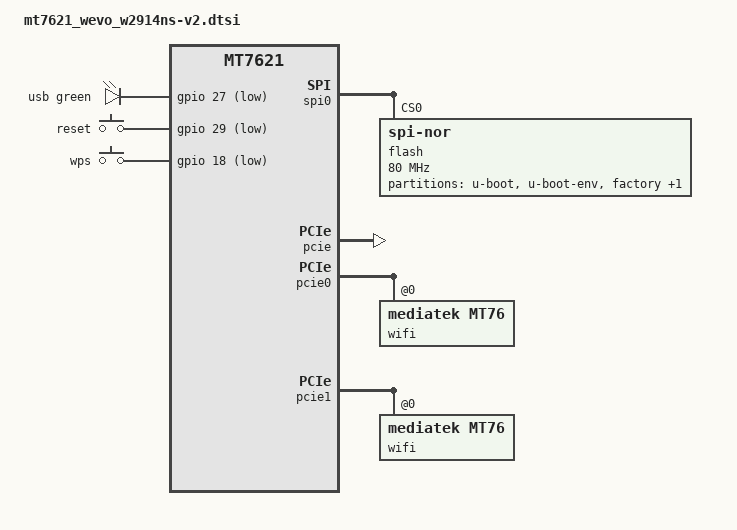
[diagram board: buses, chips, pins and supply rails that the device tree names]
#include "mt7621.dtsi"

#include <dt-bindings/gpio/gpio.h>
#include <dt-bindings/input/input.h>
#include <dt-bindings/leds/common.h>

/ {
	aliases {
		label-mac-device = &wan;
	};

	leds {
		compatible = "gpio-leds";

		usb {
			function = LED_FUNCTION_USB;
			color = <LED_COLOR_ID_GREEN>;
			gpios = <&gpio 27 GPIO_ACTIVE_LOW>;
			trigger-sources = <&xhci_ehci_port1>, <&ehci_port2>;
			linux,default-trigger = "usbport";
		};
	};

	keys {
		compatible = "gpio-keys";

		reset {
			label = "reset";
			gpios = <&gpio 29 GPIO_ACTIVE_LOW>;
			linux,code = <KEY_RESTART>;
		};

		wps {
			label = "wps";
			gpios = <&gpio 18 GPIO_ACTIVE_LOW>;
			linux,code = <KEY_WPS_BUTTON>;
		};
	};
};

&spi0 {
	status = "okay";

	flash@0 {
		compatible = "jedec,spi-nor";
		reg = <0>;
		spi-max-frequency = <80000000>;
		m25p,fast-read;

		partitions {
			compatible = "fixed-partitions";
			#address-cells = <1>;
			#size-cells = <1>;

			partition@0 {
				label = "u-boot";
				reg = <0x0 0x30000>;
				read-only;
			};

			partition@30000 {
				label = "u-boot-env";
				reg = <0x30000 0x10000>;
				read-only;
			};

			partition@40000 {
				label = "factory";
				reg = <0x40000 0x10000>;
				read-only;

				nvmem-layout {
					compatible = "fixed-layout";
					#address-cells = <1>;
					#size-cells = <1>;

					eeprom_factory_0: eeprom@0 {
						reg = <0x0 0x400>;
					};

					eeprom_factory_8000: eeprom@8000 {
						reg = <0x8000 0x200>;
					};

					macaddr_factory_2e: macaddr@2e {
						reg = <0x2e 0x6>;
					};

					macaddr_factory_e000: macaddr@e000 {
						reg = <0xe000 0x6>;
					};
				};
			};

			partition@50000 {
				compatible = "denx,uimage";
				label = "firmware";
				reg = <0x50000 0xfb0000>;
			};
		};
	};
};

&pcie {
	status = "okay";
};

&pcie0 {
	wifi@0,0 {
		compatible = "mediatek,mt76";
		reg = <0x0000 0 0 0 0>;
		nvmem-cells = <&eeprom_factory_0>;
		nvmem-cell-names = "eeprom";

		led {
			led-sources = <0>;
			led-active-low;
		};
	};
};

&pcie1 {
	wifi@0,0 {
		compatible = "mediatek,mt76";
		reg = <0x0000 0 0 0 0>;
		nvmem-cells = <&eeprom_factory_8000>;
		nvmem-cell-names = "eeprom";
		ieee80211-freq-limit = <5000000 6000000>;

		led {
			led-sources = <2>;
			led-active-low;
		};
	};
};

&ethernet {
	pinctrl-0 = <&mdio_pins>, <&rgmii1_pins>;
};

&gmac0 {
	nvmem-cells = <&macaddr_factory_e000>;
	nvmem-cell-names = "mac-address";
};

&switch0 {
	ports {
		port@0 {
			status = "okay";
			label = "lan4";
		};

		port@1 {
			status = "okay";
			label = "lan3";
		};

		port@2 {
			status = "okay";
			label = "lan2";
		};

		port@3 {
			status = "okay";
			label = "lan1";
		};
		wan: port@4 {
			status = "okay";
			label = "wan";
			nvmem-cells = <&macaddr_factory_2e>;
			nvmem-cell-names = "mac-address";
		};
	};
};

&state_default {
	gpio {
		groups = "wdt", "rgmii2";
		function = "gpio";
	};
};
